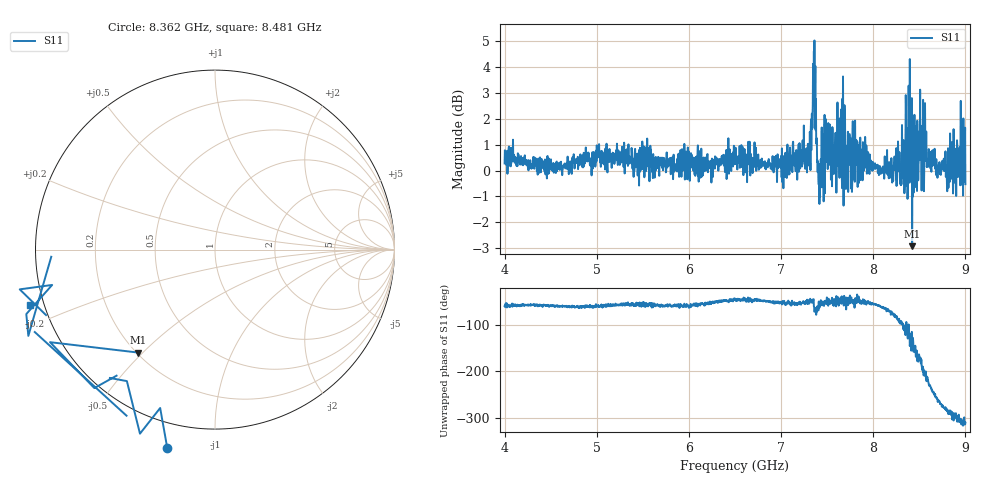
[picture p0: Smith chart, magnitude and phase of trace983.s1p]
! Created with skrf 1.8.0 (http://scikit-rf.org).
# Hz S RI R 50.0
!freq ReS11 ImS11
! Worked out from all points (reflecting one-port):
!   1601 points, 4 GHz to 9 GHz, reference 50 ohm
!   lowest |S11| = -2.9 dB at 8.422 GHz (marker M1), VSWR 6.02, Z = 10.3 - j24.3 ohm
!   phase of S11 starts at -59 deg and turns -252 deg over the sweep
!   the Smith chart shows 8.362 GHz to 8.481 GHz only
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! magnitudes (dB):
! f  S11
! 4 GHz  0.3
! 4.625 GHz  -0.2
! 5.25 GHz  0.2
! 5.875 GHz  0.5
! 6.5 GHz  0.6
! 7.038 GHz  0.3
! 7.125 GHz  0.8
! 7.294 GHz  0.4
! 7.356 GHz  4.6
! 7.369 GHz  3.1
! 7.4 GHz  0.3
! 7.412 GHz  0.3
! 7.509 GHz  0.5
! 7.584 GHz  0.3
! 7.65 GHz  2.4
! 7.75 GHz  0.2
! 8.316 GHz  0.1
! 8.338 GHz  -0.9
! 8.356 GHz  2.3
! 8.375 GHz  -0.7
! 8.422 GHz  -2.9
! 8.447 GHz  2.1
! 8.522 GHz  0.8
! 8.606 GHz  0.3
! 8.712 GHz  0.2
! 8.875 GHz  0.1
! 8.972 GHz  1.0
! 9 GHz  -0.5
